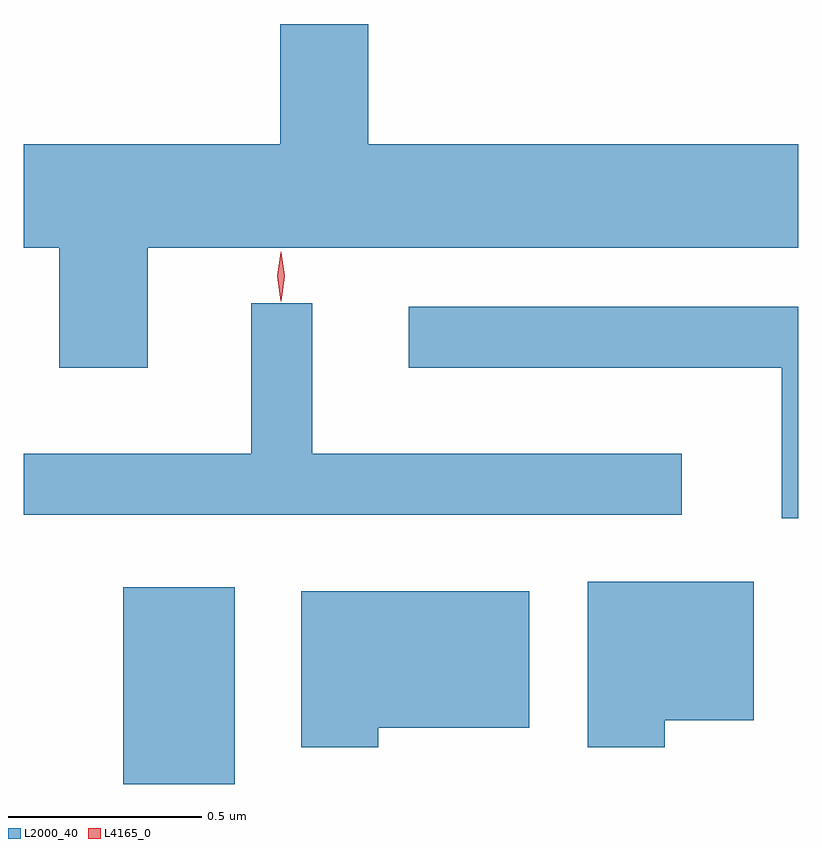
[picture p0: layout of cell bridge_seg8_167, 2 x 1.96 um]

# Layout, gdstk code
import gdstk
lib = gdstk.Library(unit=1e-6, precision=1e-09)
def R(c, l, rs):  # rectangles x0, y0, x1, y1
    for r in rs: c.add(gdstk.rectangle(r[:2], r[2:], *l))
def P(c, l, *ps):  # polygons
    for p in ps: c.add(gdstk.Polygon(p, *l))
L2000_40 = (2000, 40)
L4165_0 = (4165, 0)

bridge_seg8_167 = lib.new_cell('bridge_seg8_167')
R(bridge_seg8_167, L2000_40, [(1440.276,1917.171,1440.564,1917.679)])
P(bridge_seg8_167, L2000_40, [(1440.019,1918.556),(1440.111,1918.556),(1440.111,1918.246),(1440.339,1918.246),(1440.339,1918.556),(1442.019,1918.556),(1442.019,1918.824),(1440.909,1918.824),(1440.909,1919.134),(1440.681,1919.134),(1440.681,1918.824),(1440.019,1918.824)],
  [(1441.718,1918.024),(1440.764,1918.024),(1440.764,1918.413),(1440.606,1918.413),(1440.606,1918.024),(1440.019,1918.024),(1440.019,1917.866),(1441.718,1917.866)],
  [(1442.019,1918.404),(1441.013,1918.404),(1441.013,1918.246),(1441.976,1918.246),(1441.976,1917.858),(1442.019,1917.858)],
  [(1441.674,1917.336),(1441.904,1917.336),(1441.904,1917.694),(1441.476,1917.694),(1441.476,1917.266),(1441.674,1917.266)],
  [(1440.934,1917.316),(1441.324,1917.316),(1441.324,1917.669),(1440.736,1917.669),(1440.736,1917.266),(1440.934,1917.266)])
P(bridge_seg8_167, L4165_0, [(1440.682,1918.418),(1440.673,1918.482),(1440.682,1918.545),(1440.683,1918.546),(1440.684,1918.545),(1440.693,1918.482),(1440.684,1918.418),(1440.683,1918.418)])

lib.write_gds('bridge_seg8_167.gds')
